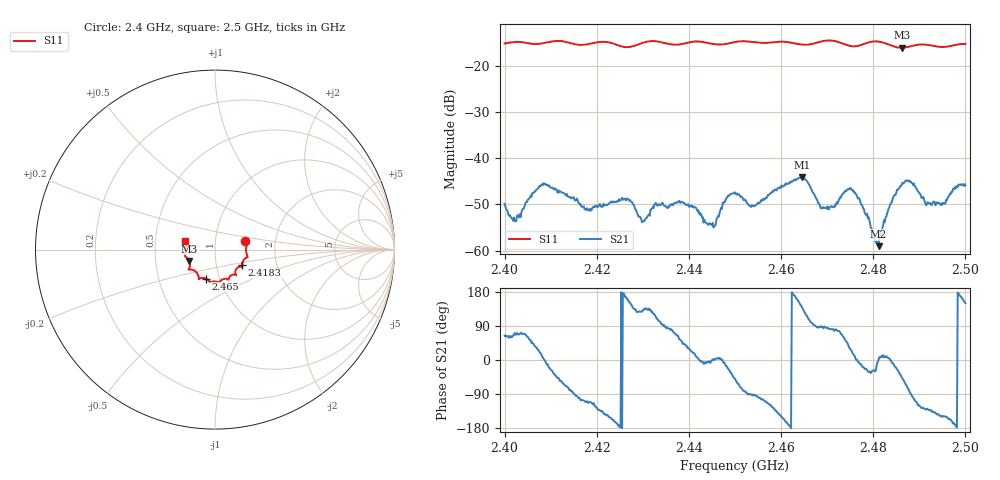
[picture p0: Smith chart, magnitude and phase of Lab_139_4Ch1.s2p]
# Hz S RI R 50
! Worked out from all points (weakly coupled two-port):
!   601 points, 2.4 GHz to 2.5 GHz, reference 50 ohm
!   highest |S21| = -44.03 dB at 2.4645 GHz (marker M1); lowest = -59.0 dB at 2.4812 GHz (marker M2)
!   lowest |S11| = -16.1 dB at 2.4862 GHz (marker M3), VSWR 1.37, Z = 37.2 - j4.84 ohm
!   |S11| at or under -10 dB: start of sweep to end of sweep
!   S12 and S22 are empty: the file has one direction only
!   S11 on the Smith chart (normalised r, x): 2.4 GHz: 1.40, +0.14; 2.4183 GHz: 1.33, -0.24; 2.465 GHz: 0.86, -0.28; 2.5 GHz: 0.71, +0.07
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2.4e9  0.1687 0.0469  0.00142 0.00289  0 0  0 0
2.402667e9  0.1791 0.0348  0.000749 0.00221  0 0  0 0
2.408667e9  0.1761 -0.0232  0.00527 -5.42e-05  0 0  0 0
2.416667e9  0.1545 -0.0682  -0.000789 -0.00289  0 0  0 0
2.418333e9  0.1501 -0.0867  -0.00102 -0.00261  0 0  0 0
2.426333e9  0.1228 -0.1024  -0.0034 0.000828  0 0  0 0
2.430167e9  0.1144 -0.138  -0.00139 0.00155  0 0  0 0
2.433333e9  0.1172 -0.1411  -0.000792 0.00306  0 0  0 0
2.438333e9  0.0811 -0.1515  0.00213 0.00265  0 0  0 0
2.445333e9  0.0594 -0.1621  0.00178 3e-05  0 0  0 0
2.45e9  0.0259 -0.18  0.00278 -0.00323  0 0  0 0
2.454e9  0.0145 -0.1808  -4.71e-05 -0.00303  0 0  0 0
2.4645e9  -0.0473 -0.1638  -0.00483 0.00402  0 0  0 0
2.465e9  -0.0524 -0.1614  -0.00382 0.00492  0 0  0 0
2.466667e9  -0.071 -0.1575  -0.000656 0.0045  0 0  0 0
2.469833e9  -0.0911 -0.1647  0.000246 0.00294  0 0  0 0
2.475333e9  -0.1037 -0.1264  0.00418 0.00177  0 0  0 0
2.481167e9  -0.1472 -0.1096  0.00112 1.68e-05  0 0  0 0
2.483333e9  -0.141 -0.0967  0.00286 0.000258  0 0  0 0
2.486167e9  -0.1437 -0.0635  0.00361 -0.00365  0 0  0 0
2.494833e9  -0.1604 0.00126  -0.00268 -0.00157  0 0  0 0
2.5e9  -0.1663 0.0469  -0.00442 0.00253  0 0  0 0
